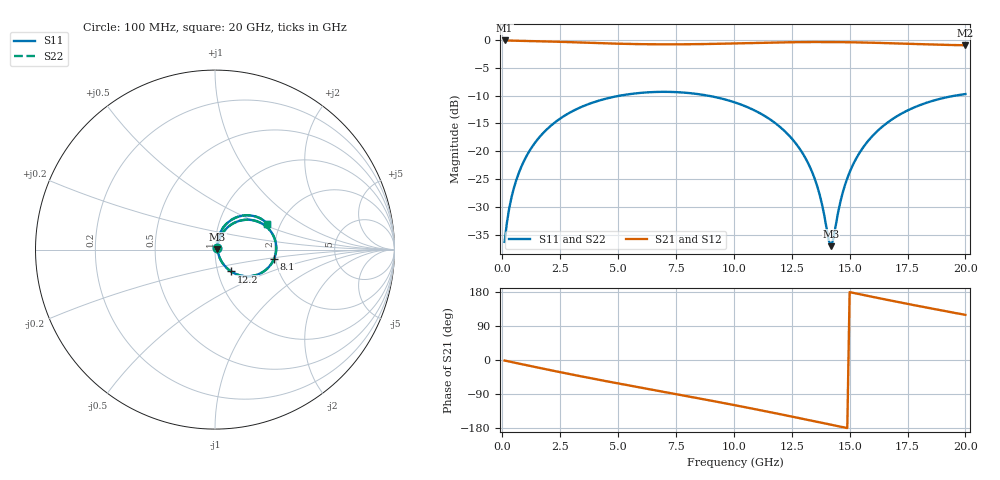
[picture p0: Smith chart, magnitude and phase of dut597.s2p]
! Touchstone file exported from HFSS 2026.1.0
!  File:  C:/ffzhzh/LocalFiles/Ansys_Project_Files/temp_train_TSV_RDL_597_1783121548_35180.aedt
!  Generated:  07:45:06 AM Jul  4, 2026
!  Design:  TSV_RDL
!  Project:  temp_train_TSV_RDL_597_1783121548_35180
! Variables:
!  h_bsmrdl = 5.4um
!  h_ox = 20um
!  h_rdl = 5um
!  h_sub = 97.14um
!  h_tmrdl = 4.81um
!  h_tsv = 97.14um
!  h_via = 3um
!  l_bsmrdl = 417.63um
!  l_sub = 3853.18um
!  l_tmrdl = 515.49um
!  m_sub = 200um
!  pitch = 41.72um
!  r_tsv = 10.65um
!  s_tmrdl = 10um
!  w_bsmrdl = 23.43um
!  w_sub = 500um
!  w_tmrdl = 22.68um
!  x_tsv_center1 = 526.83um
!  x_tsv_center2 = 967.89um
!  x_tsv_center3 = 1506.06um
!  x_tsv_center4 = 1947.12um
!  x_tsv_center5 = 2485.29um
!  x_tsv_center6 = 2926.35um
# GHz S MA R 50.000000
! Terminal data exported
! Port[1] = TM_RDL1_1_T1
! Port[2] = TM_RDL5_1_T1
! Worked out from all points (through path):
!   200 points, 100 MHz to 20 GHz, reference 50 ohm
!   highest |S21| = -0.10 dB at 100 MHz (marker M1); lowest = -1.0 dB at 20 GHz (marker M2)
!   group delay of S21, straight-line fit = 33.3 ps
!   lowest |S11| = -37.1 dB at 14.2 GHz (marker M3), VSWR 1.03, Z = 51.4 + j0.229 ohm
!   |S11| at or under -10 dB: start of sweep to 5.107 GHz; 8.856 GHz to 19.58 GHz (10.72 GHz wide, 75.4 % of centre)
!   |S22| runs from -37.5 to -9.3 dB; largest |S21 - S12| = 1.7e-14
!   S11 on the Smith chart (normalised r, x): 100 MHz: 1.02, +0.02; 8.1 GHz: 1.96, -0.24; 12.2 GHz: 1.16, -0.29; 20 GHz: 1.71, +0.55
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0.1  0.01532 38.5  0.9882 -1.4  0.9882 -1.4  0.01532 38.5
! Gamma 0 0 0 0
! Port Impedance 50 0 50 0
0.3  0.03074 60.0  0.9862 -4.0  0.9862 -4.0  0.03074 60.0
0.5  0.04665 65.2  0.9846 -6.6  0.9846 -6.6  0.04665 65.2
1.1  0.09467 65.8  0.9795 -14.4  0.9795 -14.4  0.09467 65.7
2.1  0.1696 56.5  0.9666 -27.1  0.9666 -27.1  0.1696 56.5
3.5  0.254 40.8  0.9444 -44.3  0.9444 -44.3  0.254 40.8
5.1  0.316 23.0  0.9229 -62.9  0.9229 -62.9  0.316 23.0
6.8  0.3412 4.6  0.9122 -82.1  0.9122 -82.1  0.3412 4.6
8.1  0.3325 -9.3  0.9139 -96.8  0.9139 -96.8  0.3324 -9.4
10.1  0.2719 -31.1  0.9297 -119.9  0.9297 -119.9  0.2719 -31.2
12.2  0.1512 -53.6  0.9505 -145.5  0.9505 -145.5  0.1511 -53.8
12.9  0.101 -59.4  0.9549 -154.3  0.9549 -154.3  0.1009 -59.8
13.4  0.06354 -60.9  0.9565 -160.6  0.9565 -160.6  0.06338 -61.4
13.7  0.04111 -57.4  0.9568 -164.4  0.9568 -164.4  0.04086 -58.3
14.1  0.01576 -19.6  0.9565 -169.5  0.9565 -169.5  0.01514 -20.7
14.2  0.01402 9.1  0.9562 -170.8  0.9562 -170.8  0.01332 9.4
14.7  0.04228 71.0  0.9541 -177.2  0.9541 -177.2  0.04206 71.9
15.1  0.0722 74.2  0.9515 177.8  0.9515 177.8  0.07207 74.8
15.8  0.1238 70.3  0.945 168.9  0.945 168.9  0.1237 70.7
16.7  0.1849 61.7  0.934 157.8  0.934 157.8  0.1849 61.9
18.2  0.267 45.6  0.9135 139.8  0.9135 139.8  0.267 45.8
20  0.326 26.3  0.8944 119.1  0.8944 119.1  0.326 26.4
